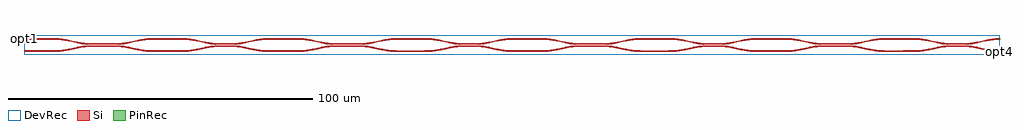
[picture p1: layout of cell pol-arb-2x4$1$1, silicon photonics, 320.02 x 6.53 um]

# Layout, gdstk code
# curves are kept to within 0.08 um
import gdstk
lib = gdstk.Library(unit=1e-6, precision=1e-09)
def R(c, l, rs):  # rectangles x0, y0, x1, y1
    for r in rs: c.add(gdstk.rectangle(r[:2], r[2:], *l))
def P(c, l, *ps):  # polygons
    for p in ps: c.add(gdstk.Polygon(p, *l))
Si = (1, 0)
PinRec = (1, 10)
DevRec = (68, 0)

layer_0_0_phase_sec_0_2_ = lib.new_cell('layer-0_0_phase_sec_0$2$1')
P(layer_0_0_phase_sec_0_2_, Si, [(0,-0.225),(0,0.225),(10,0.225),(10,-0.225)])

layer_0_0_phase_sec_1_2_ = lib.new_cell('layer-0_0_phase_sec_1$2$1')
P(layer_0_0_phase_sec_1_2_, Si, [(3.163,-0.226),(0,-0.225),(0,0.225),(10,0.225),(10,-0.225)])

dc_arm_up_8_2_1 = lib.new_cell('dc_arm_up_8$2$1')
R(dc_arm_up_8_2_1, Si, [(12,0.1,20,0.55)])
P(dc_arm_up_8_2_1, Si, [(20,0.1),(20,0.55),(21.481,0.613),(22.966,0.793),(29.344,2.033),(30.861,2.188),(32,2.225),(32,1.775),(30.519,1.712),(29.034,1.532),(22.656,0.292),(21.139,0.137)],
  [(12,0.1),(10.861,0.137),(9.344,0.292),(2.966,1.532),(1.481,1.712),(0,1.775),(0,2.225),(1.139,2.188),(2.656,2.033),(9.034,0.793),(10.519,0.613),(12,0.55)])

dc_arm_down_8_2_1 = lib.new_cell('dc_arm_down_8$2$1')
R(dc_arm_down_8_2_1, Si, [(12,-0.55,20,-0.1)])
P(dc_arm_down_8_2_1, Si, [(32,-2.225),(30.861,-2.188),(29.344,-2.033),(22.966,-0.793),(21.481,-0.613),(20,-0.55),(20,-0.1),(21.139,-0.137),(22.656,-0.292),(29.034,-1.532),(30.519,-1.712),(32,-1.775)],
  [(0,-2.225),(0,-1.775),(1.481,-1.712),(2.966,-1.532),(9.344,-0.292),(10.861,-0.137),(12,-0.1),(12,-0.55),(10.519,-0.613),(9.034,-0.793),(2.656,-2.033),(1.139,-2.188)])

dc_8_2_1 = lib.new_cell('dc_8$2$1')
dc_8_2_1.add(gdstk.Reference(dc_arm_up_8_2_1, (0,0)))
dc_8_2_1.add(gdstk.Reference(dc_arm_down_8_2_1, (0,0)))

dc_arm_up_4_2_1 = lib.new_cell('dc_arm_up_4$2$1')
R(dc_arm_up_4_2_1, Si, [(12,0.1,16,0.55)])
P(dc_arm_up_4_2_1, Si, [(16,0.1),(16,0.55),(17.481,0.613),(18.966,0.793),(25.344,2.033),(26.861,2.188),(28,2.225),(28,1.775),(26.519,1.712),(25.034,1.532),(18.656,0.292),(17.139,0.137)],
  [(12,0.1),(10.861,0.137),(9.344,0.292),(2.966,1.532),(1.481,1.712),(0,1.775),(0,2.225),(1.139,2.188),(2.656,2.033),(9.034,0.793),(10.519,0.613),(12,0.55)])

dc_arm_down_4_2_1 = lib.new_cell('dc_arm_down_4$2$1')
R(dc_arm_down_4_2_1, Si, [(12,-0.55,16,-0.1)])
P(dc_arm_down_4_2_1, Si, [(28,-2.225),(26.861,-2.188),(25.344,-2.033),(18.966,-0.793),(17.481,-0.613),(16,-0.55),(16,-0.1),(17.139,-0.137),(18.656,-0.292),(25.034,-1.532),(26.519,-1.712),(28,-1.775)],
  [(0,-2.225),(0,-1.775),(1.481,-1.712),(2.966,-1.532),(9.344,-0.292),(10.861,-0.137),(12,-0.1),(12,-0.55),(10.519,-0.613),(9.034,-0.793),(2.656,-2.033),(1.139,-2.188)])

dc_4_2_1 = lib.new_cell('dc_4$2$1')
dc_4_2_1.add(gdstk.Reference(dc_arm_up_4_2_1, (0,0)))
dc_4_2_1.add(gdstk.Reference(dc_arm_down_4_2_1, (0,0)))

layer_1_0_phase_sec_0_2_ = lib.new_cell('layer-1_0_phase_sec_0$2$1')
P(layer_1_0_phase_sec_0_2_, Si, [(0,-0.225),(0,0.225),(10,0.225),(10,-0.225)])

layer_1_0_phase_sec_2_2_ = lib.new_cell('layer-1_0_phase_sec_2$2$1')
P(layer_1_0_phase_sec_2_2_, Si, [(6.381,-0.285),(0,-0.225),(0,0.225),(6.381,0.285),(10,0.225),(10,-0.225)])

layer_2_0_phase_sec_1_2_ = lib.new_cell('layer-2_0_phase_sec_1$2$1')
P(layer_2_0_phase_sec_1_2_, Si, [(1.586,-0.235),(0,-0.225),(0,0.225),(10,0.225),(10,-0.225)])

layer_2_0_phase_sec_0_2_ = lib.new_cell('layer-2_0_phase_sec_0$2$1')
P(layer_2_0_phase_sec_0_2_, Si, [(0,-0.225),(0,0.225),(10,0.225),(10,-0.225)])

layer_0_0_phase_sec_2_2_ = lib.new_cell('layer-0_0_phase_sec_2$2$1')
P(layer_0_0_phase_sec_2_2_, Si, [(0,-0.225),(0,0.225),(10,0.225),(10,-0.225)])

layer_2_0_phase_sec_3_2_ = lib.new_cell('layer-2_0_phase_sec_3$2$1')
P(layer_2_0_phase_sec_3_2_, Si, [(0,-0.225),(0,0.225),(10,0.225),(10,-0.225)])

layer_2_0_phase_sec_2_2_ = lib.new_cell('layer-2_0_phase_sec_2$2$1')
P(layer_2_0_phase_sec_2_2_, Si, [(6.358,-0.251),(0,-0.225),(0,0.225),(10,0.225),(10,-0.225)])

layer_3_0_phase_sec_1_2_ = lib.new_cell('layer-3_0_phase_sec_1$2$1')
P(layer_3_0_phase_sec_1_2_, Si, [(3.181,-0.243),(0,-0.225),(0,0.225),(10,0.225),(10,-0.225)])

layer_1_0_phase_sec_3_2_ = lib.new_cell('layer-1_0_phase_sec_3$2$1')
P(layer_1_0_phase_sec_3_2_, Si, [(0,-0.225),(0,0.225),(10,0.225),(10,-0.225)])

layer_3_0_phase_sec_2_2_ = lib.new_cell('layer-3_0_phase_sec_2$2$1')
P(layer_3_0_phase_sec_2_2_, Si, [(0,-0.225),(0,0.225),(10,0.225),(10,-0.225)])

layer_1_0_phase_sec_1_2_ = lib.new_cell('layer-1_0_phase_sec_1$2$1')
P(layer_1_0_phase_sec_1_2_, Si, [(4.751,-0.244),(0,-0.225),(0,0.225),(10,0.225),(10,-0.225)])

layer_0_0_phase_sec_3_2_ = lib.new_cell('layer-0_0_phase_sec_3$2$1')
P(layer_0_0_phase_sec_3_2_, Si, [(3.177,-0.242),(0,-0.225),(0,0.225),(10,0.225),(10,-0.225)])

layer_3_0_phase_sec_0_2_ = lib.new_cell('layer-3_0_phase_sec_0$2$1')
P(layer_3_0_phase_sec_0_2_, Si, [(0,-0.225),(0,0.225),(10,0.225),(10,-0.225)])

layer_3_0_phase_sec_3_2_ = lib.new_cell('layer-3_0_phase_sec_3$2$1')
P(layer_3_0_phase_sec_3_2_, Si, [(0,-0.225),(0,0.225),(10,0.225),(10,-0.225)])

pol_arb_2x4_1_1 = lib.new_cell('pol-arb-2x4$1$1')
R(pol_arb_2x4_1_1, DevRec, [(0,-1,320,5.529)])
pol_arb_2x4_1_1.add(gdstk.FlexPath([(319.99,0.244),(320.01,0.244)], 0.45, ends="flush", simple_path=True, layer=1, datatype=10))  # PinRec
pol_arb_2x4_1_1.add(gdstk.FlexPath([(319.99,4.244),(320.01,4.244)], 0.45, ends="flush", simple_path=True, layer=1, datatype=10))  # PinRec
pol_arb_2x4_1_1.add(gdstk.FlexPath([(0.01,0.244),(-0.01,0.244)], 0.45, ends="flush", simple_path=True, layer=1, datatype=10))  # PinRec
pol_arb_2x4_1_1.add(gdstk.FlexPath([(0.01,4.244),(-0.01,4.244)], 0.45, ends="flush", simple_path=True, layer=1, datatype=10))  # PinRec
pol_arb_2x4_1_1.add(gdstk.Reference(layer_0_0_phase_sec_0_2_, (0,4.244)))
pol_arb_2x4_1_1.add(gdstk.Reference(layer_0_0_phase_sec_1_2_, (0,0.244)))
pol_arb_2x4_1_1.add(gdstk.Reference(dc_8_2_1, (10,2.244)))
pol_arb_2x4_1_1.add(gdstk.Reference(dc_8_2_1, (90,2.244)))
pol_arb_2x4_1_1.add(gdstk.Reference(dc_8_2_1, (170,2.244)))
pol_arb_2x4_1_1.add(gdstk.Reference(dc_8_2_1, (250,2.244)))
pol_arb_2x4_1_1.add(gdstk.Reference(dc_4_2_1, (52,2.244)))
pol_arb_2x4_1_1.add(gdstk.Reference(dc_4_2_1, (132,2.244)))
pol_arb_2x4_1_1.add(gdstk.Reference(dc_4_2_1, (212,2.244)))
pol_arb_2x4_1_1.add(gdstk.Reference(dc_4_2_1, (292,2.244)))
pol_arb_2x4_1_1.add(gdstk.Reference(layer_1_0_phase_sec_0_2_, (80,4.244)))
pol_arb_2x4_1_1.add(gdstk.Reference(layer_1_0_phase_sec_2_2_, (122,4.244)))
pol_arb_2x4_1_1.add(gdstk.Reference(layer_2_0_phase_sec_1_2_, (160,0.244)))
pol_arb_2x4_1_1.add(gdstk.Reference(layer_2_0_phase_sec_0_2_, (160,4.244)))
pol_arb_2x4_1_1.add(gdstk.Reference(layer_0_0_phase_sec_2_2_, (42,4.244)))
pol_arb_2x4_1_1.add(gdstk.Reference(layer_2_0_phase_sec_3_2_, (202,0.244)))
pol_arb_2x4_1_1.add(gdstk.Reference(layer_2_0_phase_sec_2_2_, (202,4.244)))
pol_arb_2x4_1_1.add(gdstk.Reference(layer_3_0_phase_sec_1_2_, (240,0.244)))
pol_arb_2x4_1_1.add(gdstk.Reference(layer_1_0_phase_sec_3_2_, (122,0.244)))
pol_arb_2x4_1_1.add(gdstk.Reference(layer_3_0_phase_sec_2_2_, (282,4.244)))
pol_arb_2x4_1_1.add(gdstk.Reference(layer_1_0_phase_sec_1_2_, (80,0.244)))
pol_arb_2x4_1_1.add(gdstk.Reference(layer_0_0_phase_sec_3_2_, (42,0.244)))
pol_arb_2x4_1_1.add(gdstk.Reference(layer_3_0_phase_sec_0_2_, (240,4.244)))
pol_arb_2x4_1_1.add(gdstk.Reference(layer_3_0_phase_sec_3_2_, (282,0.244)))
pol_arb_2x4_1_1.add(gdstk.Label('opt4', (320,0.244), layer=1, texttype=10))
pol_arb_2x4_1_1.add(gdstk.Label('opt3', (320,4.244), layer=1, texttype=10))
pol_arb_2x4_1_1.add(gdstk.Label('opt1', (0,4.244), layer=1, texttype=10))
pol_arb_2x4_1_1.add(gdstk.Label('opt2', (0,0.24), layer=1, texttype=10))

lib.write_gds('pol-arb-2x4_1_1.gds')
